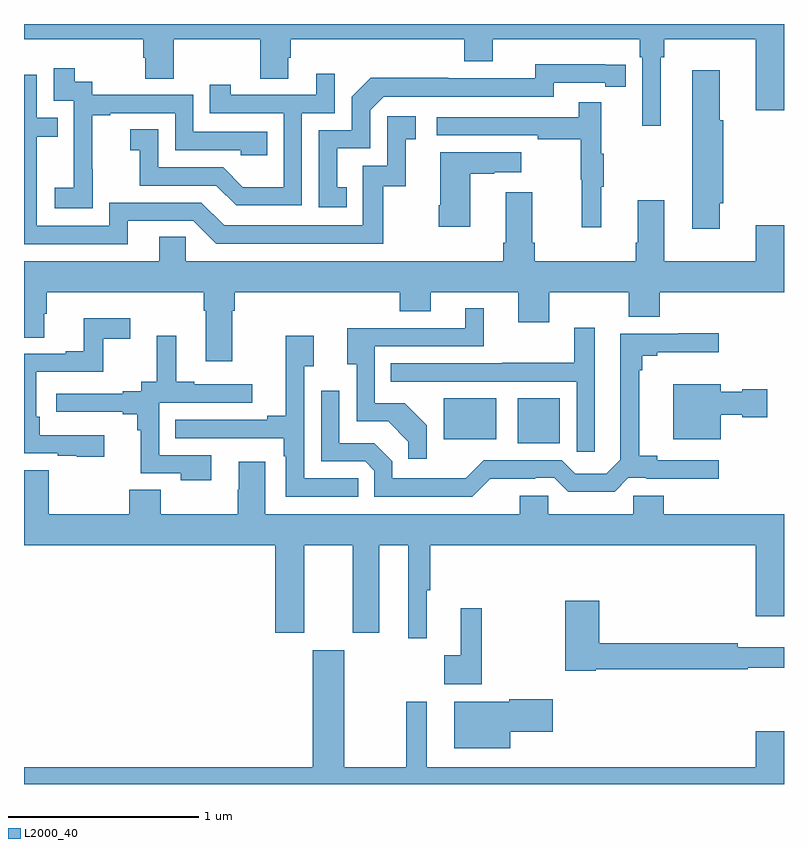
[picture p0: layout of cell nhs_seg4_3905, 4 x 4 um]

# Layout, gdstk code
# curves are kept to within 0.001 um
import gdstk
lib = gdstk.Library(unit=1e-6, precision=1e-09)
def R(c, l, rs):  # rectangles x0, y0, x1, y1
    for r in rs: c.add(gdstk.rectangle(r[:2], r[2:], *l))
def P(c, l, *ps):  # polygons
    for p in ps: c.add(gdstk.Polygon(p, *l))
L2000_40 = (2000, 40)

nhs_seg4_3905 = lib.new_cell('nhs_seg4_3905')
R(nhs_seg4_3905, L2000_40, [(319.598,794.693,319.819,794.929), (319.208,794.714,319.486,794.929)])
P(nhs_seg4_3905, L2000_40, [(320.35,796.724),(320.369,796.724),(320.369,796.82),(320.852,796.82),(320.852,796.446),(321,796.446),(321,796.9),(317,796.9),(317,796.82),(317.627,796.82),(317.627,796.722),(317.639,796.722),(317.639,796.612),(317.787,796.612),(317.787,796.82),(318.244,796.82),(318.244,796.612),(318.391,796.612),(318.391,796.722),(318.404,796.722),(318.404,796.82),(319.316,796.82),(319.316,796.703),(319.468,796.703),(319.468,796.82),(320.24,796.82),(320.24,796.724),(320.253,796.724),(320.253,796.365),(320.35,796.365)],
  [(318.698,796.041),(318.649,796.041),(318.649,796.245),(318.822,796.245),(318.822,796.446),(318.894,796.518),(319.788,796.518),(319.788,796.59),(320.06,796.59),(320.06,796.57),(320.168,796.57),(320.168,796.686),(319.692,796.687),(319.692,796.614),(319.232,796.614),(319.232,796.616),(318.824,796.616),(318.726,796.518),(318.726,796.341),(318.552,796.341),(318.552,795.936),(318.698,795.936)],
  [(317.361,796.135),(317.36,796.135),(317.36,796.419),(317.455,796.419),(317.455,796.431),(317.796,796.431),(317.796,796.236),(318.141,796.236),(318.141,796.209),(318.281,796.209),(318.281,796.332),(317.892,796.332),(317.892,796.527),(317.358,796.527),(317.358,796.596),(317.266,796.596),(317.266,796.666),(317.157,796.666),(317.157,796.497),(317.262,796.497),(317.262,796.268),(317.261,796.268),(317.261,796.039),(317.163,796.039),(317.163,795.929),(317.361,795.929)],
  [(320.662,795.957),(320.68,795.957),(320.68,796.393),(320.662,796.393),(320.662,796.657),(320.516,796.657),(320.516,795.822),(320.662,795.822)],
  [(318.462,796.431),(318.636,796.431),(318.636,796.639),(318.539,796.639),(318.539,796.527),(318.088,796.527),(318.088,796.579),(317.977,796.579),(317.977,796.431),(318.366,796.431),(318.366,796.042),(318.152,796.042),(318.048,796.146),(317.706,796.146),(317.706,796.345),(317.559,796.345),(317.559,796.235),(317.608,796.235),(317.608,796.05),(318.011,796.05),(318.116,795.945),(318.462,795.945)],
  [(317.545,795.864),(317.892,795.864),(318.012,795.744),(318.892,795.744),(318.892,796.047),(319.01,796.047),(319.01,796.293),(319.063,796.293),(319.063,796.414),(318.912,796.414),(318.912,796.155),(318.783,796.155),(318.783,795.84),(318.054,795.84),(317.934,795.96),(317.448,795.96),(317.448,795.837),(317.067,795.837),(317.067,796.306),(317.177,796.306),(317.177,796.407),(317.067,796.407),(317.067,796.632),(317,796.632),(317,795.741),(317.545,795.741)],
  [(320.039,796.043),(320.05,796.043),(320.05,796.217),(320.039,796.217),(320.039,796.489),(319.921,796.489),(319.921,796.41),(319.173,796.41),(319.173,796.314),(319.705,796.314),(319.705,796.294),(319.929,796.294),(319.929,796.08),(319.936,796.08),(319.936,795.831),(320.039,795.831)],
  [(319.348,796.111),(319.475,796.111),(319.475,796.121),(319.618,796.121),(319.618,796.225),(319.19,796.225),(319.19,795.946),(319.183,795.946),(319.183,795.834),(319.348,795.834)],
  [(317.85,795.779),(317.711,795.779),(317.711,795.652),(317,795.652),(317,795.25),(317.107,795.25),(317.107,795.375),(317.12,795.375),(317.12,795.488),(317.945,795.488),(317.945,795.392),(317.957,795.392),(317.957,795.126),(318.097,795.126),(318.097,795.392),(318.11,795.392),(318.11,795.488),(318.977,795.488),(318.977,795.389),(319.141,795.389),(319.141,795.488),(319.601,795.488),(319.601,795.33),(319.765,795.33),(319.765,795.488),(320.183,795.488),(320.183,795.36),(320.347,795.36),(320.347,795.488),(321,795.488),(321,795.841),(320.852,795.841),(320.852,795.652),(320.371,795.652),(320.371,795.973),(320.231,795.973),(320.231,795.748),(320.219,795.748),(320.219,795.652),(319.688,795.652),(319.688,795.748),(319.675,795.748),(319.675,796.015),(319.535,796.015),(319.535,795.748),(319.523,795.748),(319.523,795.652),(317.85,795.652)],
  [(319.119,794.788),(319.003,794.904),(318.846,794.904),(318.846,795.204),(319.421,795.204),(319.421,795.403),(319.322,795.403),(319.322,795.3),(318.701,795.3),(318.701,795.11),(318.75,795.11),(318.75,794.808),(318.917,794.808),(319.023,794.702),(319.023,794.611),(319.119,794.611)],
  [(317.422,794.736),(317.084,794.736),(317.084,794.833),(317.064,794.833),(317.064,795.069),(317.417,795.069),(317.417,795.243),(317.56,795.243),(317.56,795.352),(317.315,795.352),(317.315,795.178),(317.219,795.178),(317.219,795.165),(317,795.165),(317,794.64),(317.177,794.64),(317.177,794.628),(317.277,794.628),(317.277,794.623),(317.422,794.623)],
  [(320.005,795.301),(319.896,795.301),(319.896,795.116),(319.516,795.116),(319.516,795.114),(318.931,795.114),(318.931,795.018),(319.908,795.018),(319.908,794.649),(320.005,794.649)],
  [(319.454,794.507),(319.691,794.507),(319.691,794.511),(319.791,794.511),(319.864,794.438),(320.108,794.438),(320.181,794.511),(320.275,794.511),(320.275,794.507),(320.656,794.507),(320.656,794.604),(320.332,794.604),(320.332,794.627),(320.237,794.627),(320.237,795.077),(320.255,795.077),(320.255,795.154),(320.332,795.154),(320.332,795.173),(320.656,795.173),(320.656,795.272),(320.443,795.272),(320.443,795.27),(320.138,795.27),(320.138,794.606),(320.065,794.533),(319.901,794.533),(319.83,794.604),(319.419,794.604),(319.325,794.51),(319.22,794.51),(319.22,794.508),(318.939,794.508),(318.939,794.598),(318.843,794.694),(318.66,794.694),(318.66,794.971),(318.564,794.971),(318.564,794.598),(318.795,794.598),(318.843,794.55),(318.843,794.412),(319.359,794.412)],
  [(318.758,794.508),(318.474,794.508),(318.474,795.098),(318.526,795.098),(318.526,795.259),(318.377,795.259),(318.377,794.837),(318.281,794.837),(318.281,794.817),(317.797,794.817),(317.797,794.721),(318.366,794.721),(318.366,794.624),(318.378,794.624),(318.378,794.412),(318.758,794.412)],
  [(317.986,794.631),(317.712,794.631),(317.712,794.907),(318.202,794.907),(318.202,795.003),(317.896,795.003),(317.896,795.016),(317.8,795.016),(317.8,795.259),(317.698,795.259),(317.698,795.016),(317.616,795.016),(317.616,794.968),(317.519,794.968),(317.519,794.955),(317.169,794.955),(317.169,794.859),(317.519,794.859),(317.519,794.847),(317.596,794.847),(317.596,794.762),(317.615,794.762),(317.615,794.535),(317.825,794.535),(317.825,794.498),(317.986,794.498)],
  [(320.668,794.843),(320.781,794.843),(320.781,794.831),(320.911,794.831),(320.911,794.978),(320.781,794.978),(320.781,794.965),(320.668,794.965),(320.668,795.004),(320.417,795.004),(320.417,794.714),(320.668,794.714)],
  [(319.121,793.92),(319.139,793.92),(319.139,794.156),(320.852,794.156),(320.852,793.782),(321,793.782),(321,794.32),(320.366,794.32),(320.366,794.418),(320.207,794.418),(320.207,794.32),(319.76,794.32),(319.76,794.418),(319.61,794.418),(319.61,794.32),(318.271,794.32),(318.271,794.596),(318.131,794.596),(318.131,794.45),(318.124,794.45),(318.124,794.32),(317.719,794.32),(317.719,794.45),(317.555,794.45),(317.555,794.32),(317.131,794.32),(317.131,794.551),(317,794.551),(317,794.156),(318.323,794.156),(318.323,793.695),(318.475,793.695),(318.475,794.156),(318.731,794.156),(318.731,793.695),(318.871,793.695),(318.871,794.156),(319.022,794.156),(319.022,793.668),(319.121,793.668)],
  [(320.01,793.504),(320.81,793.504),(320.81,793.512),(321,793.512),(321,793.621),(320.756,793.621),(320.756,793.64),(320.027,793.64),(320.027,793.864),(319.849,793.864),(319.849,793.496),(320.01,793.496)],
  [(319.408,793.825),(319.298,793.825),(319.298,793.577),(319.212,793.577),(319.212,793.424),(319.408,793.424)],
  [(321,793.177),(320.852,793.177),(320.852,792.988),(319.12,792.988),(319.12,793.333),(319.011,793.333),(319.011,792.988),(318.685,792.988),(318.685,793.603),(318.521,793.603),(318.521,792.988),(317,792.988),(317,792.9),(321,792.9)],
  [(319.558,793.175),(319.783,793.175),(319.783,793.346),(319.554,793.346),(319.554,793.333),(319.265,793.333),(319.265,793.088),(319.558,793.088)])

lib.write_gds('nhs_seg4_3905.gds')
